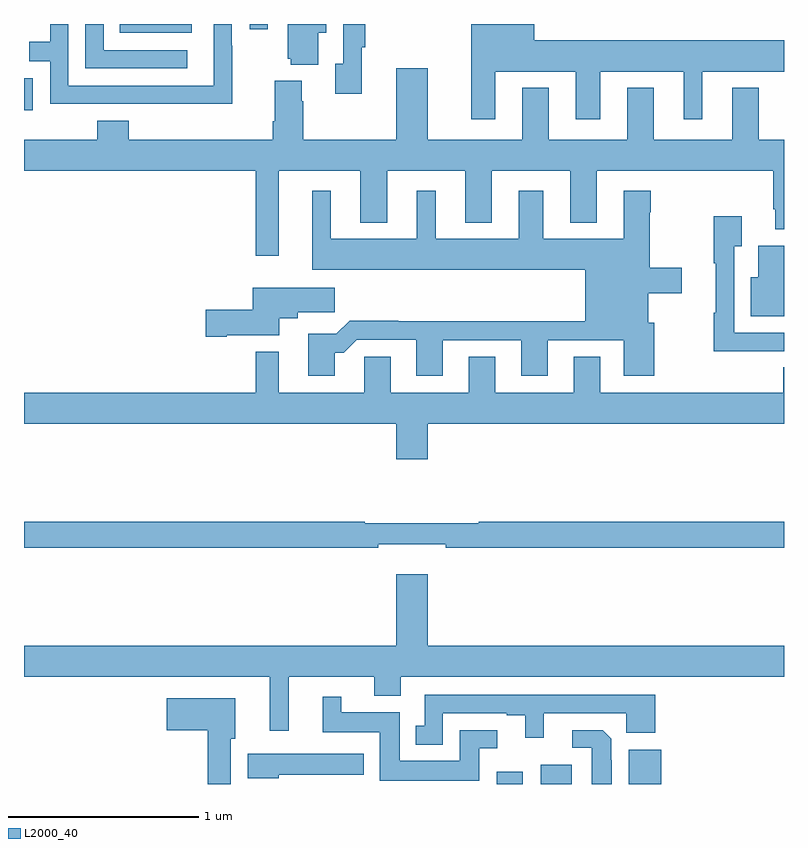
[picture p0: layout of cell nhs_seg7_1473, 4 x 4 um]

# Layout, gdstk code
import gdstk
lib = gdstk.Library(unit=1e-6, precision=1e-09)
def R(c, l, rs):  # rectangles x0, y0, x1, y1
    for r in rs: c.add(gdstk.rectangle(r[:2], r[2:], *l))
def P(c, l, *ps):  # polygons
    for p in ps: c.add(gdstk.Polygon(p, *l))
L2000_40 = (2000, 40)

nhs_seg7_1473 = lib.new_cell('nhs_seg7_1473')
R(nhs_seg7_1473, L2000_40, [(213.488,1052,213.625,1052.065), (213.719,1052,213.883,1052.101), (214.184,1052,214.355,1052.179), (211,1055.547,211.047,1055.715), (211.504,1055.954,211.882,1056), (212.187,1055.973,212.283,1056)])
P(nhs_seg7_1473, L2000_40, [(211.858,1055.862),(211.419,1055.862),(211.419,1056),(211.323,1056),(211.323,1055.766),(211.858,1055.766)],
  [(212.548,1055.954),(212.59,1055.954),(212.59,1056),(212.387,1056),(212.387,1055.817),(212.405,1055.817),(212.405,1055.786),(212.548,1055.786)],
  [(213.481,1055.75),(213.905,1055.75),(213.905,1055.499),(214.033,1055.499),(214.033,1055.75),(214.472,1055.75),(214.472,1055.499),(214.57,1055.499),(214.57,1055.75),(215,1055.75),(215,1055.914),(213.685,1055.914),(213.685,1056),(213.353,1056),(213.353,1055.499),(213.481,1055.499)],
  [(212.097,1055.885),(212.094,1055.885),(212.094,1056),(211.998,1056),(211.998,1055.676),(211.233,1055.676),(211.233,1056),(211.137,1056),(211.137,1055.906),(211.027,1055.906),(211.027,1055.805),(211.137,1055.805),(211.137,1055.58),(211.633,1055.58),(211.633,1055.579),(212.097,1055.579)],
  [(212.777,1055.878),(212.795,1055.878),(212.795,1056),(212.679,1056),(212.679,1055.79),(212.639,1055.79),(212.639,1055.634),(212.777,1055.634)],
  [(212.341,1055.228),(212.771,1055.228),(212.771,1054.955),(212.911,1054.955),(212.911,1055.228),(213.323,1055.228),(213.323,1054.955),(213.463,1054.955),(213.463,1055.228),(213.875,1055.228),(213.875,1054.955),(214.015,1054.955),(214.015,1055.228),(214.943,1055.228),(214.943,1055.026),(214.955,1055.026),(214.955,1054.919),(215,1054.919),(215,1055.392),(214.867,1055.392),(214.867,1055.665),(214.727,1055.665),(214.727,1055.392),(214.315,1055.392),(214.315,1055.665),(214.175,1055.665),(214.175,1055.392),(213.763,1055.392),(213.763,1055.665),(213.623,1055.665),(213.623,1055.392),(213.124,1055.392),(213.124,1055.767),(212.96,1055.767),(212.96,1055.392),(212.469,1055.392),(212.469,1055.594),(212.461,1055.594),(212.461,1055.701),(212.321,1055.701),(212.321,1055.488),(212.309,1055.488),(212.309,1055.392),(211.55,1055.392),(211.55,1055.491),(211.385,1055.491),(211.385,1055.392),(211,1055.392),(211,1055.228),(212.22,1055.228),(212.22,1054.779),(212.341,1054.779)],
  [(212.635,1054.271),(212.684,1054.271),(212.751,1054.338),(213.065,1054.338),(213.065,1054.149),(213.205,1054.149),(213.205,1054.335),(213.617,1054.335),(213.617,1054.149),(213.757,1054.149),(213.757,1054.335),(214.157,1054.335),(214.157,1054.149),(214.317,1054.149),(214.317,1054.428),(214.285,1054.428),(214.285,1054.583),(214.462,1054.583),(214.462,1054.718),(214.293,1054.718),(214.293,1055.009),(214.298,1055.009),(214.298,1055.122),(214.157,1055.122),(214.157,1054.87),(213.733,1054.87),(213.733,1055.122),(213.605,1055.122),(213.605,1054.87),(213.166,1054.87),(213.166,1055.122),(213.068,1055.122),(213.068,1054.87),(212.614,1054.87),(212.614,1055.122),(212.516,1055.122),(212.516,1054.706),(213.953,1054.706),(213.953,1054.436),(212.969,1054.436),(212.969,1054.439),(212.714,1054.439),(212.644,1054.369),(212.495,1054.369),(212.495,1054.149),(212.635,1054.149)],
  [(214.913,1054.278),(215,1054.278),(215,1054.374),(214.737,1054.374),(214.737,1054.831),(214.777,1054.831),(214.777,1054.987),(214.629,1054.987),(214.629,1054.742),(214.64,1054.742),(214.64,1054.481),(214.629,1054.481),(214.629,1054.277),(214.913,1054.277)],
  [(215,1054.834),(214.865,1054.834),(214.865,1054.666),(214.826,1054.666),(214.826,1054.463),(215,1054.463)],
  [(212.068,1054.361),(212.344,1054.361),(212.344,1054.451),(212.44,1054.451),(212.44,1054.483),(212.635,1054.483),(212.635,1054.612),(212.204,1054.612),(212.204,1054.496),(211.956,1054.496),(211.956,1054.354),(212.068,1054.354)],
  [(213.124,1053.896),(215,1053.896),(215,1054.193),(214.997,1054.193),(214.997,1054.06),(214.033,1054.06),(214.033,1054.25),(213.893,1054.25),(213.893,1054.06),(213.481,1054.06),(213.481,1054.25),(213.341,1054.25),(213.341,1054.06),(212.929,1054.06),(212.929,1054.25),(212.79,1054.25),(212.79,1054.06),(212.341,1054.06),(212.341,1054.276),(212.22,1054.276),(212.22,1054.06),(211,1054.06),(211,1053.896),(212.96,1053.896),(212.96,1053.708),(213.124,1053.708)],
  [(212.864,1053.263),(213.22,1053.263),(213.22,1053.244),(215,1053.244),(215,1053.38),(213.394,1053.38),(213.394,1053.373),(212.794,1053.373),(212.794,1053.38),(211,1053.38),(211,1053.244),(212.864,1053.244)],
  [(212.983,1052.564),(215,1052.564),(215,1052.728),(213.124,1052.728),(213.124,1053.103),(212.96,1053.103),(212.96,1052.728),(211,1052.728),(211,1052.564),(212.294,1052.564),(212.294,1052.28),(212.393,1052.28),(212.393,1052.564),(212.843,1052.564),(212.843,1052.465),(212.983,1052.465)],
  [(213.204,1052.373),(213.542,1052.373),(213.542,1052.361),(213.638,1052.361),(213.638,1052.244),(213.736,1052.244),(213.736,1052.373),(214.17,1052.373),(214.17,1052.27),(214.322,1052.27),(214.322,1052.469),(213.108,1052.469),(213.108,1052.307),(213.062,1052.307),(213.062,1052.207),(213.204,1052.207)],
  [(213.397,1052.187),(213.49,1052.187),(213.49,1052.283),(213.293,1052.283),(213.293,1052.122),(212.977,1052.122),(212.977,1052.377),(212.671,1052.377),(212.671,1052.458),(212.573,1052.458),(212.573,1052.273),(212.873,1052.273),(212.873,1052.018),(213.397,1052.018)],
  [(212.089,1052.238),(212.113,1052.238),(212.113,1052.452),(211.752,1052.452),(211.752,1052.282),(211.967,1052.282),(211.967,1052),(212.089,1052)],
  [(214.093,1052.126),(214.092,1052.126),(214.092,1052.237),(214.046,1052.283),(213.885,1052.283),(213.885,1052.19),(213.989,1052.19),(213.989,1052),(214.093,1052)],
  [(212.34,1052.048),(212.788,1052.048),(212.788,1052.158),(212.178,1052.158),(212.178,1052.03),(212.34,1052.03)])

lib.write_gds('nhs_seg7_1473.gds')
